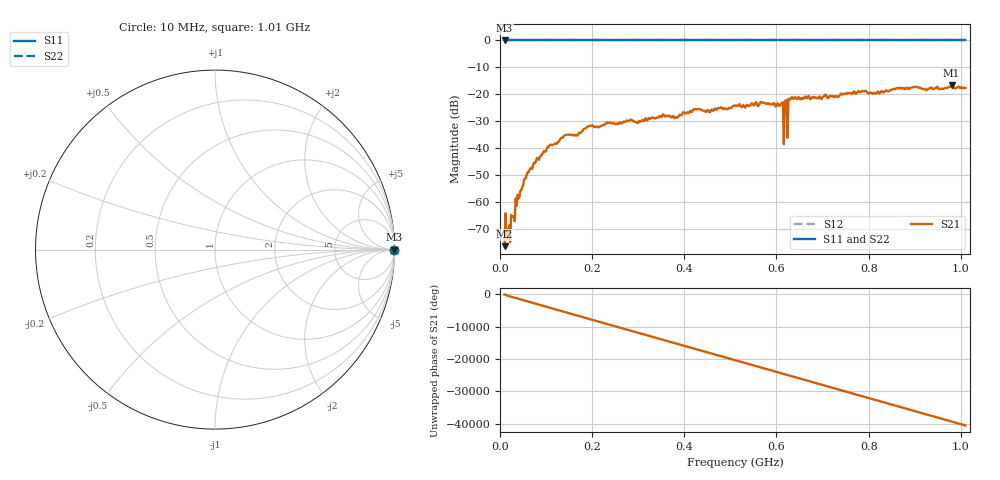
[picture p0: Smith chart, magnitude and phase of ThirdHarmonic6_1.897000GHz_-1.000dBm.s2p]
! 8/16/2025 10:54:11 PM
! C:\ANRITSUVNA\TEMP\TEMP.S2P
! CHANNEL.1
! TR.MEASUREMENT
! RAW.DATA
! RF.CORRECTION.OFF
! AVERAGING.OFF
! IF.BANDWIDTH: 5KHZ
! SWEEPTYPE:  FREQ.SWEEP(Linear)
! Reference Plane Port Info
! PORT:  PORT1  PORT2
! DISTANCE:  0  m  0  m
! TIME:  0  s  0  s
! PHASE.OFFSET:  0  deg.  0  deg.
! LOSS:  0  dB  0  dB
! REF.LOSS:  0  dB  0  dB
! REF.FREQ:  0  Hz  0  Hz
! Power Info
! POWER:  -20  dBm  -20  dBm
! EFF.POWER:  -20  dBm  -20  dBm
! SOURCE.ATTEN:  0  dB  0  dB
! TEST.ATTEN:  0  dB  0  dB
# GHZ S RI R 50.0
! FREQ.GHZ  S11RE  S11IM  S21RE  S21IM  S12RE  S12IM  S22RE  S22IM
!; PortSelection: Port_12
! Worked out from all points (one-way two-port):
!   501 points, 10 MHz to 1.01 GHz, reference 50 ohm
!   highest |S21| = -16.67 dB at 980 MHz (marker M1); lowest = -76.5 dB at 10 MHz (marker M2)
!   lowest |S11| = 0.0 dB at 10 MHz (marker M3)
!   |S11| at or under -10 dB: nowhere
!   |S22| runs from 0.0 to 0.0 dB; largest |S21 - S12| = 1.1
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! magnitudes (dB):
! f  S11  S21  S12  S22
! 10 MHz  0.0  -76.5  0.0  0.0
! 16 MHz  0.0  -73.9  0.0  0.0
! 18 MHz  0.0  -71.2  0.0  0.0
! 38 MHz  0.0  -57.4  0.0  0.0
! 56 MHz  0.0  -51.2  0.0  0.0
! 76 MHz  0.0  -45.7  0.0  0.0
! 138 MHz  0.0  -35.7  0.0  0.0
! 178 MHz  0.0  -33.9  0.0  0.0
! 196 MHz  0.0  -31.9  0.0  0.0
! 344 MHz  0.0  -28.7  0.0  0.0
! 510 MHz  0.0  -24.3  0.0  0.0
! 610 MHz  0.0  -23.6  0.0  0.0
! 612 MHz  0.0  -23.1  0.0  0.0
! 618 MHz  0.0  -22.5  0.0  0.0
! 620 MHz  0.0  -22.4  0.0  0.0
! 622 MHz  0.0  -22.2  0.0  0.0
! 628 MHz  0.0  -22.0  0.0  0.0
! 630 MHz  0.0  -22.0  0.0  0.0
! 678 MHz  0.0  -21.0  0.0  0.0
! 844 MHz  0.0  -18.9  0.0  0.0
! 980 MHz  0.0  -16.7  0.0  0.0
! 1.01 GHz  0.0  -17.7  0.0  0.0
